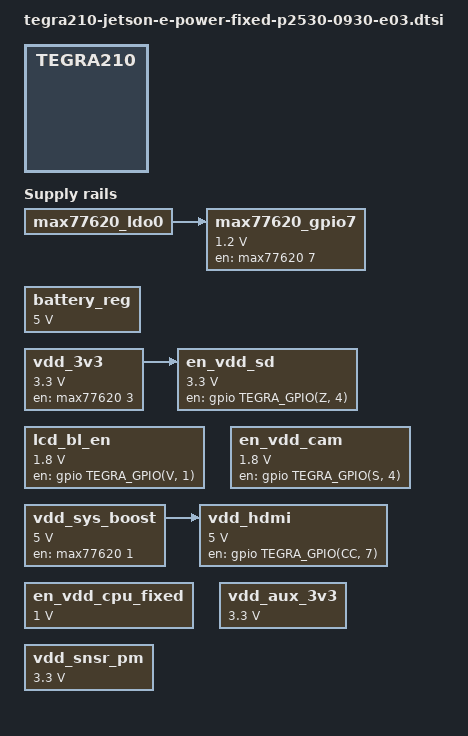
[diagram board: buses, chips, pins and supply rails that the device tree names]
/*
 * Copyright (c) 2014, NVIDIA CORPORATION.  All rights reserved.
 *
 * This program is free software; you can redistribute it and/or modify
 * it under the terms of the GNU General Public License as published by
 * the Free Software Foundation; either version 2 of the License, or
 * (at your option) any later version.
 *
 * This program is distributed in the hope that it will be useful, but WITHOUT
 * ANY WARRANTY; without even the implied warranty of MERCHANTABILITY or
 * FITNESS FOR A PARTICULAR PURPOSE.  See the GNU General Public License for
 * more details.
 *
 * You should have received a copy of the GNU General Public License along
 * with this program; if not, write to the Free Software Foundation, Inc.,
 * 51 Franklin Street, Fifth Floor, Boston, MA  02110-1301, USA.
 */

#include <dt-bindings/gpio/tegra-gpio.h>

/ {
	regulators {
		compatible = "simple-bus";
		device_type = "fixed-regulators";
		#address-cells = <1>;
		#size-cells = <0>;

		battery_reg: regulator@0 {
			compatible = "regulator-fixed";
			reg = <0>;
			regulator-name = "vdd-ac-bat";
			regulator-min-microvolt = <5000000>;
			regulator-max-microvolt = <5000000>;
			regulator-always-on;
		};

		vdd_3v3: regulator@1 {
			compatible = "regulator-fixed-sync";
			reg = <1>;
			regulator-name = "vdd-3v3";
			regulator-min-microvolt = <3300000>;
			regulator-max-microvolt = <3300000>;
			regulator-always-on;
			gpio = <&max77620 3 0>;
			enable-active-high;
			consumers {
				c1 {
					regulator-consumer-supply = "avdd_usb";
					regulator-consumer-device = "tegra-ehci.0";
				};
				c2 {
					regulator-consumer-supply = "avdd_usb";
					regulator-consumer-device = "tegra-ehci.1";
				};
				c3 {
					regulator-consumer-supply = "avdd_usb";
					regulator-consumer-device = "tegra-ehci.2";
				};
				c5 {
					regulator-consumer-supply = "vdd";
					regulator-consumer-device = "1-004d";
				};
			};
		};

		max77620_gpio7: regulator@2 {
			compatible = "regulator-fixed-sync";
			reg = <2>;
			regulator-name = "max77620-gpio7";
			regulator-min-microvolt = <1200000>;
			regulator-max-microvolt = <1200000>;
			regulator-boot-on;
			gpio = <&max77620 7 0>;
			enable-active-high;
			vin-supply = <&max77620_ldo0>;
		};

		lcd_bl_en: regulator@3 {
			compatible = "regulator-fixed-sync";
			reg = <3>;
			regulator-name = "lcd-bl-en";
			regulator-min-microvolt = <1800000>;
			regulator-max-microvolt = <1800000>;
			regulator-boot-on;
			gpio = <&gpio TEGRA_GPIO(V, 1) 0>;
			enable-active-high;
		};

		en_vdd_sd: regulator@4 {
			compatible = "regulator-fixed-sync";
			reg = <4>;
			regulator-name = "en-vdd-sd";
			regulator-min-microvolt = <3300000>;
			regulator-max-microvolt = <3300000>;
			gpio = <&gpio TEGRA_GPIO(Z, 4) 0>;
			enable-active-high;
			vin-supply = <&vdd_3v3>;
		};

		en_vdd_cam: regulator@5 {
			compatible = "regulator-fixed-sync";
			reg = <5>;
			regulator-name = "en-vdd-cam";
			regulator-min-microvolt = <1800000>;
			regulator-max-microvolt = <1800000>;
			gpio = <&gpio TEGRA_GPIO(S, 4) 0>;
			enable-active-high;
			consumers {
				c1 {
					regulator-consumer-supply = "vif";
				};
			};
		};

		vdd_sys_boost: regulator@6 {
			compatible = "regulator-fixed-sync";
			reg = <6>;
			regulator-name = "vdd-sys-boost";
			regulator-min-microvolt = <5000000>;
			regulator-max-microvolt = <5000000>;
			regulator-always-on;
			gpio = <&max77620 1 0>;
			enable-active-high;
		};

		vdd_hdmi: regulator@7 {
			compatible = "regulator-fixed-sync";
			reg = <7>;
			regulator-name = "vdd-hdmi";
			regulator-min-microvolt = <5000000>;
			regulator-max-microvolt = <5000000>;
			gpio = <&gpio TEGRA_GPIO(CC, 7) 0>;
			enable-active-high;
			vin-supply = <&vdd_sys_boost>;
		};

		en_vdd_cpu_fixed: regulator@8 {
			compatible = "regulator-fixed";
			reg = <8>;
			regulator-name = "vdd-cpu-fixed";
			regulator-min-microvolt = <1000000>;
			regulator-max-microvolt = <1000000>;
		};

		vdd_aux_3v3: regulator@9 {
			compatible = "regulator-fixed-sync";
			reg = <9>;
			regulator-name = "aux-3v3";
			regulator-min-microvolt = <3300000>;
			regulator-max-microvolt = <3300000>;
		};

		vdd_snsr_pm: regulator@10 {
			compatible = "regulator-fixed-sync";
			reg = <10>;
			regulator-name = "snsr_pm";
			enable-active-high;
			regulator-min-microvolt = <3300000>;
			regulator-max-microvolt = <3300000>;
		};

		vdd_usb_5v0: regulator@11 {
			compatible = "regulator-fixed-sync";
			reg = <11>;
			status = "disabled";
			regulator-name = "vdd-usb-5v0";
			regulator-min-microvolt = <5000000>;
			regulator-max-microvolt = <5000000>;
			vin-supply = <&vdd_3v3>;
			regulator-always-on;
			enable-active-high;
			consumers {
				c0 {
					regulator-consumer-supply = "usb_vbus";
					regulator-consumer-device = "tegra-ehci.1";
				};
				c1 {
					regulator-consumer-supply = "usb_vbus";
					regulator-consumer-device = "tegra-ehci.2";
				};
			};
		};

		vdd_cdc_1v2_aud: regulator@101 {
			compatible = "regulator-fixed-sync";
			reg = <101>;
			status = "disabled";
			regulator-name = "vdd_cdc_1v2_aud";
			regulator-min-microvolt = <1200000>;
			regulator-max-microvolt = <1200000>;
			enable-active-high;
			startup-delay-us = <250000>;
		};
	};
};
